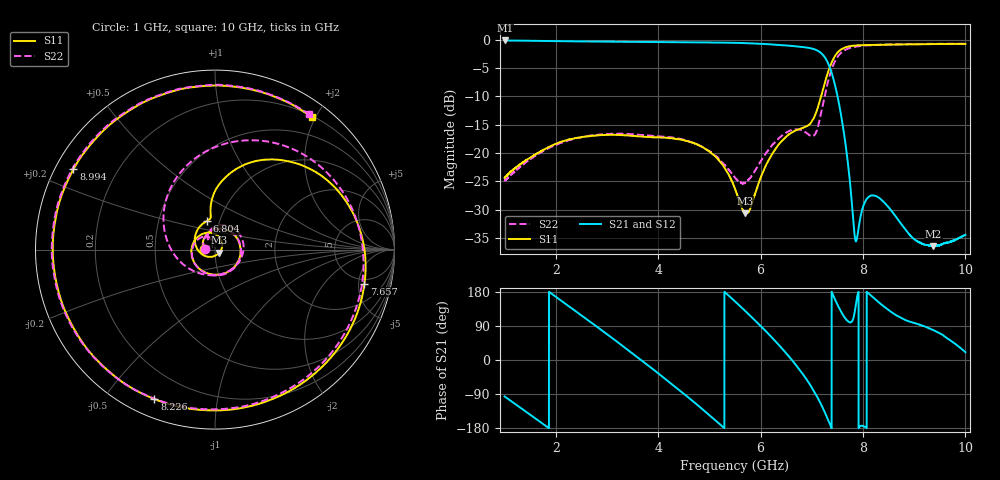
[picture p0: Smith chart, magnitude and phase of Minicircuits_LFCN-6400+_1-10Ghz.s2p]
# Hz S RI R 50
! CMT, C4220, 17028609, 19.4.3/2
! Date: 4/21/2020 5:27:26 PM
! Data: Format (Calibration Info)
! Freq	S11:Re/Im(F2)	S21:Re/Im(F2)	S12:Re/Im(F2)	S22:Re/Im(F2)
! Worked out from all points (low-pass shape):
!   9001 points, 1 GHz to 10 GHz, reference 50 ohm
!   highest |S21| = -0.16 dB at 1.007 GHz (marker M1); lowest = -36.4 dB at 9.376 GHz (marker M2)
!   |S21| within 3 dB of the highest: start of sweep to 7.257 GHz
!   lowest |S11| = -30.6 dB at 5.697 GHz (marker M3), VSWR 1.06, Z = 52.4 - j1.79 ohm
!   |S11| at or under -10 dB: start of sweep to 7.182 GHz
!   |S22| runs from -25.4 to -0.7 dB; largest |S21 - S12| = 0.0095
!   S11 on the Smith chart (normalised r, x): 1 GHz: 0.89, +0.00; 6.804 GHz: 0.87, +0.29; 7.657 GHz: 4.25, -5.94; 8.226 GHz: 0.08, -0.67; 8.994 GHz: 0.05, +0.26; 10 GHz: 0.22, +1.95
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1e9  -0.0606 0.00161  -0.1078 -0.9753  -0.1057 -0.9749  -0.0572 0.00151
1.007e9  -0.061 0.00233  -0.1193 -0.9742  -0.117 -0.9734  -0.0575 0.00202
1.785e9  -0.0143 0.1074  -0.9622 -0.1331  -0.9612 -0.1351  -0.0206 0.1041
2.5e9  0.123 0.0626  -0.4503 0.8507  -0.4524 0.8493  0.1171 0.0738
3.386e9  0.0649 -0.1278  0.8357 0.4612  0.834 0.4634  0.0835 -0.1218
4e9  -0.0883 -0.1058  0.7778 -0.5459  0.7788 -0.5438  -0.0662 -0.1244
4.686e9  -0.1084 0.0576  -0.3182 -0.8891  -0.3173 -0.8893  -0.1218 0.0203
5.127e9  -0.0116 0.0918  -0.8855 -0.3173  -0.8845 -0.3192  -0.0581 0.0739
5.5e9  0.04 0.0274  -0.8449 0.4002  -0.8461 0.3976  -0.022 0.0568
5.697e9  0.0241 -0.017  -0.5939 0.7151  -0.5981 0.7113  -0.027 0.0476
6.195e9  -0.0926 -0.00674  0.4108 0.808  0.4101 0.8078  -0.0243 0.1103
6.804e9  -0.0445 0.1595  0.7194 -0.4726  0.7189 -0.4718  0.1591 0.00205
7e9  -0.024 0.1884  0.2511 -0.7947  0.2511 -0.7932  0.0502 -0.1316
7.3e9  0.1474 0.4652  -0.5689 -0.2993  -0.5671 -0.2997  -0.2673 0.294
7.469e9  0.6251 0.3867  -0.3365 0.1556  -0.3363 0.1548  0.2757 0.6045
7.657e9  0.8329 -0.1889  -0.0404 0.1147  -0.0407 0.1145  0.8058 0.1048
7.86e9  0.5367 -0.7062  -0.014 0.00919  -0.014 0.00915  0.6639 -0.5554
8.226e9  -0.3372 -0.8329  -0.0401 0.013  -0.0402 0.0129  -0.2317 -0.8647
8.5e9  -0.7812 -0.4494  -0.0222 0.0248  -0.0222 0.0249  -0.7399 -0.5203
8.994e9  -0.7886 0.4481  -0.00243 0.0174  -0.00246 0.0174  -0.8226 0.3941
9.376e9  -0.3213 0.8533  0.00296 0.0149  0.00295 0.0149  -0.3735 0.8367
1e10  0.5384 0.7388  0.0178 0.00674  0.0178 0.00676  0.5218 0.7549
